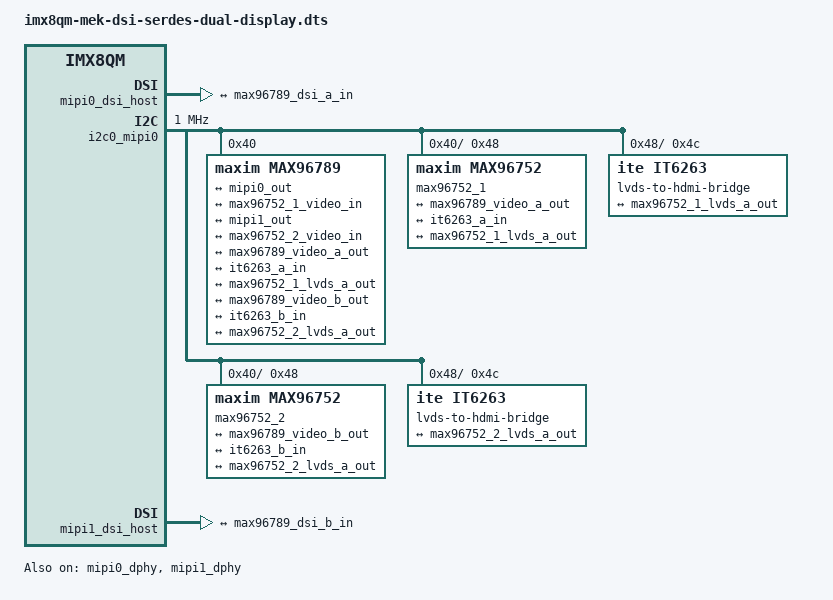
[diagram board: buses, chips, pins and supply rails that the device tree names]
// SPDX-License-Identifier: GPL-2.0+
/*
 * Copyright 2018-2019 NXP
 *	Dong Aisheng <aisheng.dong@nxp.com>
 */

/dts-v1/;

#include "imx8qm-mek.dts"

/delete-node/ &adv_bridge0;
/delete-node/ &adv_bridge1;

&mipi0_dphy {
	status = "okay";
};

&mipi0_dsi_host {
	status = "okay";

	ports {
		port@1 {
			reg = <1>;
			mipi0_out: endpoint {
				remote-endpoint = <&max96789_dsi_a_in>;
			};
		};
	};
};

&i2c0_mipi0 {
	clock-frequency = <1000000>;
	status = "okay";

	max96789: mipi_dsi_serializer@40 {
		#address-cells = <1>;
		#size-cells = <0>;

		compatible = "maxim,max96789";
		reg = <0x40>;
		status = "okay";

		maxim,gmsl-links-types = <2 2>;
		maxim,gmsl2-link-speed = <6>;

		max96789_dsi_bridge@0 {
			reg = <0>;

			compatible = "maxim,max96789-dsi";

			port {
				#address-cells = <1>;
				#size-cells = <0>;

				max96789_dsi_a_in: endpoint@0 {
					reg = <0>;

					remote-endpoint = <&mipi0_out>;
					data-lanes = <1 2 3 4>;
				};

				max96789_video_a_out: endpoint@1 {
					reg = <1>;

					remote-endpoint = <&max96752_1_video_in>;
				};
			};
		};

		max96789_dsi_bridge@1 {
			reg = <1>;

			compatible = "maxim,max96789-dsi";

			port {
				#address-cells = <1>;
				#size-cells = <0>;

				max96789_dsi_b_in: endpoint@0 {
					reg = <0>;

					remote-endpoint = <&mipi1_out>;
					data-lanes = <1 2 3 4>;
				};

				max96789_video_b_out: endpoint@1 {
					reg = <1>;

					remote-endpoint = <&max96752_2_video_in>;
				};
			};
		};

		i2c-mux {
			#address-cells = <1>;
			#size-cells = <0>;

			/* gmsl a */
			i2c@0 {
				#address-cells = <1>;
				#size-cells = <0>;

				reg = <0>;

				max96752_1: mipi_dsi_deserializer@48 {
					compatible = "maxim,max96752";
					reg = <0x48>;
					status = "okay";

					maxim,gmsl2-link-speed = <6>;

					max96752_lvds_bridge {
						compatible = "maxim,max96752-lvds";

						port {
							#address-cells = <1>;
							#size-cells = <0>;

							max96752_1_video_in: endpoint@0 {
								reg = <0>;

								remote-endpoint = <&max96789_video_a_out>;
							};

							max96752_1_lvds_a_out: endpoint@1 {
								reg = <1>;

								remote-endpoint = <&it6263_a_in>;
							};
						};
					};

					i2c-gate {
						#address-cells = <1>;
						#size-cells = <0>;

						lvds-to-hdmi-bridge@4c {
							compatible = "ite,it6263";
							reg = <0x4c>;

							port {
								it6263_a_in: endpoint {
									remote-endpoint = <&max96752_1_lvds_a_out>;
								};
							};
						};
					};
				};
			};

			/* gmsl b */
			i2c@1 {
				#address-cells = <1>;
				#size-cells = <0>;

				reg = <1>;

				max96752_2: mipi_dsi_deserializer@48 {
					compatible = "maxim,max96752";
					reg = <0x48>, <0x49>;
					status = "okay";

					maxim,gmsl2-link-speed = <6>;

					max96752_lvds_bridge {
						compatible = "maxim,max96752-lvds";

						port {
							#address-cells = <1>;
							#size-cells = <0>;

							max96752_2_video_in: endpoint@0 {
								reg = <0>;

								remote-endpoint = <&max96789_video_b_out>;
							};

							max96752_2_lvds_a_out: endpoint@1 {
								reg = <1>;

								remote-endpoint = <&it6263_b_in>;
							};
						};
					};

					i2c-gate {
						#address-cells = <1>;
						#size-cells = <0>;

						lvds-to-hdmi-bridge@4c {
							compatible = "ite,it6263";
							reg = <0x4c>;

							port {
								it6263_b_in: endpoint {
									remote-endpoint = <&max96752_2_lvds_a_out>;
								};
							};
						};
					};
				};
			};
		};
	};
};

&mipi1_dphy {
	status = "okay";
};

&mipi1_dsi_host {
	status = "okay";

	ports {
		port@1 {
			reg = <1>;
			mipi1_out: endpoint {
				remote-endpoint = <&max96789_dsi_b_in>;
			};
		};
	};
};
